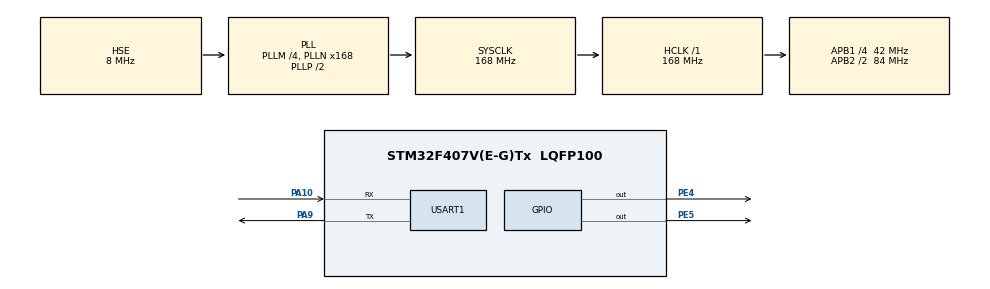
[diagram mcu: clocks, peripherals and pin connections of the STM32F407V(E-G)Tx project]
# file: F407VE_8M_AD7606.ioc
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Mcu.Family=STM32F4
Mcu.Name=STM32F407V(E-G)Tx
Mcu.Package=LQFP100
NVIC.PriorityGroup=NVIC_PRIORITYGROUP_4
NVIC.USART1_IRQn=true\:0\:0\:false\:false\:true\:true\:true
PA10.Mode=Asynchronous
PA10.Signal=USART1_RX
PA13.Mode=Serial_Wire
PA13.Signal=SYS_JTMS-SWDIO
PA14.Mode=Serial_Wire
PA14.Signal=SYS_JTCK-SWCLK
PA9.Mode=Asynchronous
PA9.Signal=USART1_TX
PC14-OSC32_IN.Mode=LSE-External-Oscillator
PC14-OSC32_IN.Signal=RCC_OSC32_IN
PC15-OSC32_OUT.Mode=LSE-External-Oscillator
PC15-OSC32_OUT.Signal=RCC_OSC32_OUT
PE4.GPIO_ModeDefaultOutputPP=GPIO_MODE_OUTPUT_PP
PE4.GPIO_PuPd=GPIO_PULLUP
PE4.GPIO_Speed=GPIO_SPEED_FREQ_VERY_HIGH
PE4.PinState=GPIO_PIN_SET
PE4.Signal=GPIO_Output
PE5.GPIO_ModeDefaultOutputPP=GPIO_MODE_OUTPUT_PP
PE5.GPIO_PuPd=GPIO_PULLUP
PE5.GPIO_Speed=GPIO_SPEED_FREQ_VERY_HIGH
PE5.PinState=GPIO_PIN_SET
PE5.Signal=GPIO_Output
PH0-OSC_IN.Mode=HSE-External-Oscillator
PH0-OSC_IN.Signal=RCC_OSC_IN
PH1-OSC_OUT.Mode=HSE-External-Oscillator
PH1-OSC_OUT.Signal=RCC_OSC_OUT
ProjectManager.HeapSize=0x200
ProjectManager.StackSize=0x400
ProjectManager.TargetToolchain=MDK-ARM V5.27
RCC.48MHZClocksFreq_Value=84000000
RCC.AHBFreq_Value=168000000
RCC.APB1CLKDivider=RCC_HCLK_DIV4
RCC.APB1Freq_Value=42000000
RCC.APB1TimFreq_Value=84000000
RCC.APB2CLKDivider=RCC_HCLK_DIV2
RCC.APB2Freq_Value=84000000
RCC.APB2TimFreq_Value=168000000
RCC.CortexFreq_Value=168000000
RCC.HCLKFreq_Value=168000000
RCC.HSE_VALUE=8000000
RCC.HSI_VALUE=16000000
RCC.PLLM=4
RCC.PLLN=168
RCC.PLLSourceVirtual=RCC_PLLSOURCE_HSE
RCC.SYSCLKFreq_VALUE=168000000
RCC.SYSCLKSource=RCC_SYSCLKSOURCE_PLLCLK
RCC.VCOOutputFreq_Value=336000000
USART1.VirtualMode=VM_ASYNC
board=custom

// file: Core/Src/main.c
/* USER CODE BEGIN Header */
/**
  ******************************************************************************
  * @file           : main.c
  * @brief          : Main program body
  ******************************************************************************
  * @attention
  *
  * <h2><center>&copy; Copyright (c) 2021 STMicroelectronics.
  * All rights reserved.</center></h2>
  *
  * This software component is licensed by ST under BSD 3-Clause license,
  * the "License"; You may not use this file except in compliance with the
  * License. You may obtain a copy of the License at:
  *                        opensource.org/licenses/BSD-3-Clause
  *
  ******************************************************************************
  */
/* USER CODE END Header */
#include "main.h"
#include "usart.h"
#include "gpio.h"

/* USER CODE BEGIN Includes */
#include "AD7606/ad7606.h"
/* USER CODE END Includes */

/* USER CODE BEGIN PV */
MyUARTHandle uart1;
uint8_t uartBuf1[100];
/* USER CODE END PV */

void SystemClock_Config(void);

int main(void)
{
  /* USER CODE BEGIN 1 */
  uint8_t i;
  int32_t val;
  int16_t valList[16];
  /* USER CODE END 1 */

  /* MCU Configuration--------------------------------------------------------*/

  /* Reset of all peripherals, Initializes the Flash interface and the Systick. */
  HAL_Init();

  /* Configure the system clock */
  SystemClock_Config();

  /* Initialize all configured peripherals */
  MX_GPIO_Init();
  MX_USART1_UART_Init();
  /* USER CODE BEGIN 2 */
  Delay_Init(168);
  MyUART_Init(&uart1, USART1, uartBuf1, 100);
  AD7606_Init();
  /* USER CODE END 2 */

  /* Infinite loop */
  while (1)
  {

    /* USER CODE BEGIN 3 */
    AD7606_StartConvAll();
    while(AD7606_isBusy())
      ;
    val = AD7606_ReadChannel(7);
    AD7606_ReadAll(valList);
    for(i = 0; i < 8; i++)
    {
      printf("%d: %d, %f\r\n", i, valList[i], valList[i] * 10.0 / 0x8000);
    }
    printf("\r\n");
    Delay_ms(500);
  }
  /* USER CODE END 3 */
}

void SystemClock_Config(void)
{
  RCC_OscInitTypeDef RCC_OscInitStruct = {0};
  RCC_ClkInitTypeDef RCC_ClkInitStruct = {0};

  /** Configure the main internal regulator output voltage
  */
  __HAL_RCC_PWR_CLK_ENABLE();
  __HAL_PWR_VOLTAGESCALING_CONFIG(PWR_REGULATOR_VOLTAGE_SCALE1);
  /** Initializes the RCC Oscillators according to the specified parameters
  * in the RCC_OscInitTypeDef structure.
  */
  RCC_OscInitStruct.OscillatorType = RCC_OSCILLATORTYPE_HSE;
  RCC_OscInitStruct.HSEState = RCC_HSE_ON;
  RCC_OscInitStruct.PLL.PLLState = RCC_PLL_ON;
  RCC_OscInitStruct.PLL.PLLSource = RCC_PLLSOURCE_HSE;
  RCC_OscInitStruct.PLL.PLLM = 4;
  RCC_OscInitStruct.PLL.PLLN = 168;
  RCC_OscInitStruct.PLL.PLLP = RCC_PLLP_DIV2;
  RCC_OscInitStruct.PLL.PLLQ = 4;
  if (HAL_RCC_OscConfig(&RCC_OscInitStruct) != HAL_OK)
  {
    Error_Handler();
  }
  /** Initializes the CPU, AHB and APB buses clocks
  */
  RCC_ClkInitStruct.ClockType = RCC_CLOCKTYPE_HCLK|RCC_CLOCKTYPE_SYSCLK
                              |RCC_CLOCKTYPE_PCLK1|RCC_CLOCKTYPE_PCLK2;
  RCC_ClkInitStruct.SYSCLKSource = RCC_SYSCLKSOURCE_PLLCLK;
  RCC_ClkInitStruct.AHBCLKDivider = RCC_SYSCLK_DIV1;
  RCC_ClkInitStruct.APB1CLKDivider = RCC_HCLK_DIV4;
  RCC_ClkInitStruct.APB2CLKDivider = RCC_HCLK_DIV2;

  if (HAL_RCC_ClockConfig(&RCC_ClkInitStruct, FLASH_LATENCY_5) != HAL_OK)
  {
    Error_Handler();
  }
}

void Error_Handler(void)
{
  __disable_irq();
  while (1)
  {
  }
}

/************************ (C) COPYRIGHT STMicroelectronics *****END OF FILE****/
